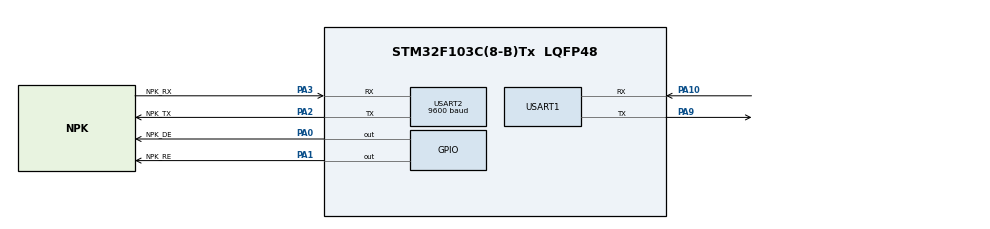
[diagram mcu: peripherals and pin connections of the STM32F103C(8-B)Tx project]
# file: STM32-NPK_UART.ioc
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Mcu.Family=STM32F1
Mcu.Name=STM32F103C(8-B)Tx
Mcu.Package=LQFP48
NVIC.PriorityGroup=NVIC_PRIORITYGROUP_4
PA0-WKUP.GPIO_Label=NPK_DE
PA0-WKUP.Signal=GPIO_Output
PA1.GPIO_Label=NPK_RE
PA1.Signal=GPIO_Output
PA10.Mode=Asynchronous
PA10.Signal=USART1_RX
PA2.GPIO_Label=NPK_TX
PA2.Mode=Asynchronous
PA2.Signal=USART2_TX
PA3.GPIO_Label=NPK_RX
PA3.Mode=Asynchronous
PA3.Signal=USART2_RX
PA9.Mode=Asynchronous
PA9.Signal=USART1_TX
ProjectManager.HeapSize=0x200
ProjectManager.StackSize=0x400
ProjectManager.TargetToolchain=STM32CubeIDE
RCC.APB1Freq_Value=8000000
RCC.APB2Freq_Value=8000000
USART1.VirtualMode=VM_ASYNC
USART2.BaudRate=9600
USART2.VirtualMode=VM_ASYNC
VP_SYS_VS_ND.Mode=No_Debug
board=custom

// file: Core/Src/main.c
/* USER CODE BEGIN Header */
/**
  ******************************************************************************
  * @file           : main.c
  * @brief          : Main program body
  ******************************************************************************
  * @attention
  *
  * Copyright (c) 2022 STMicroelectronics.
  * All rights reserved.
  *
  * This software is licensed under terms that can be found in the LICENSE file
  * in the root directory of this software component.
  * If no LICENSE file comes with this software, it is provided AS-IS.
  *
  ******************************************************************************
  */
/* USER CODE END Header */
#include "main.h"

UART_HandleTypeDef huart1;
UART_HandleTypeDef huart2;

void SystemClock_Config(void);
static void MX_GPIO_Init(void);
static void MX_USART1_UART_Init(void);
static void MX_USART2_UART_Init(void);
/* USER CODE BEGIN PFP */
void readTemperature();
/* USER CODE END PFP */

/* USER CODE BEGIN 0 */
uint8_t tx_buff[]={0,1,2,3,4,5,6,7,8,9};
uint8_t rx_buff[10];

uint8_t temp[]={0x01, 0x03, 0x00, 0x12, 0x00, 0x02, 0x64, 0x0E};
uint8_t npk_code[]={0x01, 0x03, 0x00, 0x1E, 0x00, 0x03, 0x65, 0xCD};
//uint8_t temp2[]={0x0E, 0x64, 0x02, 0x00, 0x12, 0x00, 0x03, 0x01};
char temp2[]={0x0, 0x0, 0x0};
uint8_t npkRX[12];
/* USER CODE END 0 */

int main(void)
{

  /* MCU Configuration--------------------------------------------------------*/

  /* Reset of all peripherals, Initializes the Flash interface and the Systick. */
  HAL_Init();

  /* Configure the system clock */
  SystemClock_Config();

  /* Initialize all configured peripherals */
  MX_GPIO_Init();
  MX_USART1_UART_Init();
  MX_USART2_UART_Init();

  /* Infinite loop */
  /* USER CODE BEGIN WHILE */
  HAL_GPIO_WritePin(GPIOA, NPK_DE_Pin, GPIO_PIN_RESET);
  HAL_GPIO_WritePin(GPIOA, NPK_RE_Pin, GPIO_PIN_RESET);
//  HAL_UART_Receive_IT(&huart2, npkRX, 9);
  while (1)
  {
    /* USER CODE END WHILE */

    /* USER CODE BEGIN 3 */
//	  HAL_UART_Receive(&huart2, npkRX, 9, 3000);
	  HAL_UART_Transmit(&huart1, "a", 1, 1000);
	  readTemperature();
	  //return (npkRX[5] << 8) | npkRX[6];
	  HAL_UART_Transmit(&huart1, npkRX, 11, 1000);
	  HAL_Delay(3000);
  }
  /* USER CODE END 3 */
}

void SystemClock_Config(void)
{
  RCC_OscInitTypeDef RCC_OscInitStruct = {0};
  RCC_ClkInitTypeDef RCC_ClkInitStruct = {0};

  /** Initializes the RCC Oscillators according to the specified parameters
  * in the RCC_OscInitTypeDef structure.
  */
  RCC_OscInitStruct.OscillatorType = RCC_OSCILLATORTYPE_HSI;
  RCC_OscInitStruct.HSIState = RCC_HSI_ON;
  RCC_OscInitStruct.HSICalibrationValue = RCC_HSICALIBRATION_DEFAULT;
  RCC_OscInitStruct.PLL.PLLState = RCC_PLL_NONE;
  if (HAL_RCC_OscConfig(&RCC_OscInitStruct) != HAL_OK)
  {
    Error_Handler();
  }

  /** Initializes the CPU, AHB and APB buses clocks
  */
  RCC_ClkInitStruct.ClockType = RCC_CLOCKTYPE_HCLK|RCC_CLOCKTYPE_SYSCLK
                              |RCC_CLOCKTYPE_PCLK1|RCC_CLOCKTYPE_PCLK2;
  RCC_ClkInitStruct.SYSCLKSource = RCC_SYSCLKSOURCE_HSI;
  RCC_ClkInitStruct.AHBCLKDivider = RCC_SYSCLK_DIV1;
  RCC_ClkInitStruct.APB1CLKDivider = RCC_HCLK_DIV1;
  RCC_ClkInitStruct.APB2CLKDivider = RCC_HCLK_DIV1;

  if (HAL_RCC_ClockConfig(&RCC_ClkInitStruct, FLASH_LATENCY_0) != HAL_OK)
  {
    Error_Handler();
  }
}

static void MX_USART1_UART_Init(void)
{

  huart1.Instance = USART1;
  huart1.Init.BaudRate = 115200;
  huart1.Init.WordLength = UART_WORDLENGTH_8B;
  huart1.Init.StopBits = UART_STOPBITS_1;
  huart1.Init.Parity = UART_PARITY_NONE;
  huart1.Init.Mode = UART_MODE_TX_RX;
  huart1.Init.HwFlowCtl = UART_HWCONTROL_NONE;
  huart1.Init.OverSampling = UART_OVERSAMPLING_16;
  if (HAL_UART_Init(&huart1) != HAL_OK)
  {
    Error_Handler();
  }

}

static void MX_USART2_UART_Init(void)
{

  huart2.Instance = USART2;
  huart2.Init.BaudRate = 9600;
  huart2.Init.WordLength = UART_WORDLENGTH_8B;
  huart2.Init.StopBits = UART_STOPBITS_1;
  huart2.Init.Parity = UART_PARITY_NONE;
  huart2.Init.Mode = UART_MODE_TX_RX;
  huart2.Init.HwFlowCtl = UART_HWCONTROL_NONE;
  huart2.Init.OverSampling = UART_OVERSAMPLING_16;
  if (HAL_UART_Init(&huart2) != HAL_OK)
  {
    Error_Handler();
  }

}

static void MX_GPIO_Init(void)
{
  GPIO_InitTypeDef GPIO_InitStruct = {0};

  /* GPIO Ports Clock Enable */
  __HAL_RCC_GPIOA_CLK_ENABLE();

  /*Configure GPIO pin Output Level */
  HAL_GPIO_WritePin(GPIOA, NPK_DE_Pin|NPK_RE_Pin, GPIO_PIN_RESET);

  /*Configure GPIO pins : NPK_DE_Pin NPK_RE_Pin */
  GPIO_InitStruct.Pin = NPK_DE_Pin|NPK_RE_Pin;
  GPIO_InitStruct.Mode = GPIO_MODE_OUTPUT_PP;
  GPIO_InitStruct.Pull = GPIO_NOPULL;
  GPIO_InitStruct.Speed = GPIO_SPEED_FREQ_LOW;
  HAL_GPIO_Init(GPIOA, &GPIO_InitStruct);

}

/* USER CODE BEGIN 4 */

void HAL_UART_RxCpltCallback(UART_HandleTypeDef *huart)
{
	HAL_UART_Transmit(&huart1, "b", 1, 1000);
	HAL_UART_Receive_IT(&huart2, npkRX, 9); //You need to toggle a breakpoint on this line!
}

void readTemperature(){
	HAL_GPIO_WritePin(GPIOA, NPK_DE_Pin, GPIO_PIN_SET);
	HAL_GPIO_WritePin(GPIOA, NPK_RE_Pin, GPIO_PIN_SET);
	HAL_Delay(100);

	if (HAL_UART_Transmit(&huart2, npk_code, 8, 1000) == HAL_OK){
		HAL_UART_Transmit(&huart1, "b", 1, 1000);
		HAL_GPIO_WritePin(GPIOA, NPK_DE_Pin, GPIO_PIN_RESET);
		HAL_GPIO_WritePin(GPIOA, NPK_RE_Pin, GPIO_PIN_RESET);
		HAL_StatusTypeDef txResult = HAL_UART_Receive(&huart2, npkRX, 11, 3000);
//		HAL_Delay(100);
//		if (txResult == HAL_OK){
//			HAL_UART_Transmit(&huart1, "b", 1, 1000);
//		} else {
//			HAL_UART_Transmit(&huart1, (void *)txResult, 1, 1000);
//		}
	} else {
		HAL_UART_Transmit(&huart1, "c", 1, 1000);
	}
}

/* USER CODE END 4 */

void Error_Handler(void)
{
  __disable_irq();
  while (1)
  {
  }
}
